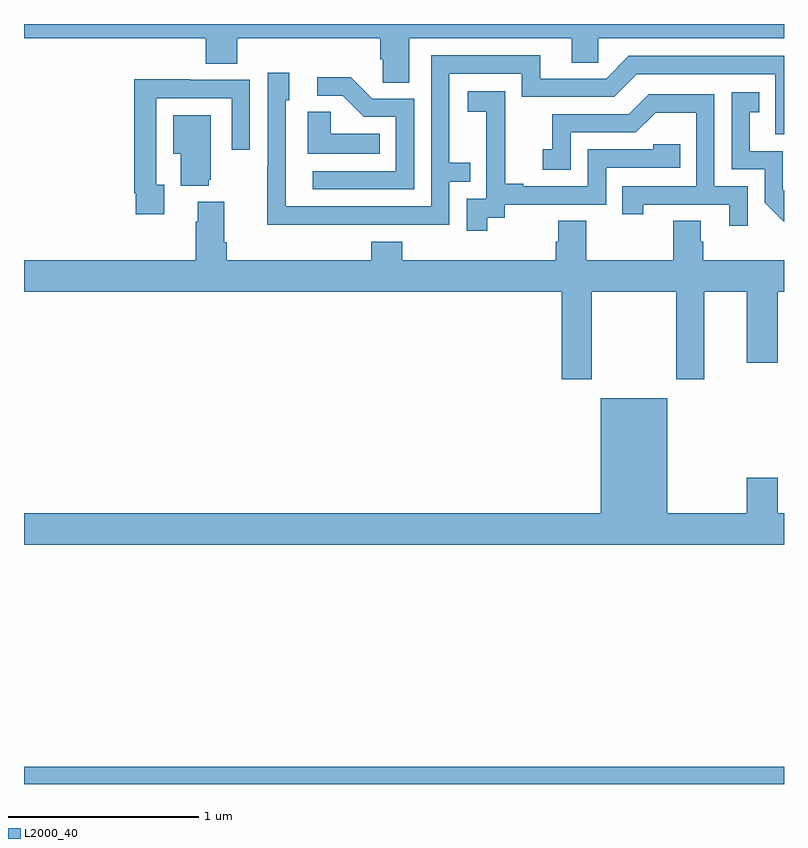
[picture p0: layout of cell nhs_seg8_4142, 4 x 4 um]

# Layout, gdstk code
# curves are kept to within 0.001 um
import gdstk
lib = gdstk.Library(unit=1e-6, precision=1e-09)
def R(c, l, rs):  # rectangles x0, y0, x1, y1
    for r in rs: c.add(gdstk.rectangle(r[:2], r[2:], *l))
def P(c, l, *ps):  # polygons
    for p in ps: c.add(gdstk.Polygon(p, *l))
L2000_40 = (2000, 40)

nhs_seg8_4142 = lib.new_cell('nhs_seg8_4142')
R(nhs_seg8_4142, L2000_40, [(365,1121.9,369,1121.992)])
P(nhs_seg8_4142, L2000_40, [(367.027,1125.824),(367.883,1125.824),(367.883,1125.697),(368.022,1125.697),(368.022,1125.824),(369,1125.824),(369,1125.9),(365,1125.9),(365,1125.824),(365.957,1125.824),(365.957,1125.691),(366.122,1125.691),(366.122,1125.824),(366.875,1125.824),(366.875,1125.715),(366.888,1125.715),(366.888,1125.592),(367.027,1125.592)],
  [(366.743,1124.844),(367.239,1124.844),(367.239,1125.069),(367.349,1125.069),(367.349,1125.17),(367.239,1125.17),(367.239,1125.639),(367.62,1125.639),(367.62,1125.516),(368.106,1125.516),(368.226,1125.636),(368.955,1125.636),(368.955,1125.321),(369,1125.321),(369,1125.732),(368.184,1125.732),(368.064,1125.612),(367.717,1125.612),(367.717,1125.735),(367.143,1125.735),(367.143,1124.94),(366.378,1124.94),(366.378,1125.498),(366.397,1125.498),(366.397,1125.643),(366.282,1125.643),(366.282,1125.149),(366.28,1125.149),(366.28,1124.843)],
  [(367.053,1125.507),(366.834,1125.507),(366.721,1125.62),(366.543,1125.62),(366.543,1125.522),(366.677,1125.522),(366.788,1125.411),(366.957,1125.411),(366.957,1125.126),(366.519,1125.126),(366.519,1125.03),(367.053,1125.03)],
  [(365.737,1125.054),(365.697,1125.054),(365.697,1125.51),(366.093,1125.51),(366.093,1125.237),(366.189,1125.237),(366.189,1125.606),(365.873,1125.606),(365.873,1125.608),(365.581,1125.608),(365.581,1125.01),(365.589,1125.01),(365.589,1124.898),(365.737,1124.898)],
  [(367.438,1124.881),(367.53,1124.881),(367.53,1124.949),(368.064,1124.949),(368.064,1125.144),(368.453,1125.144),(368.453,1125.267),(368.313,1125.267),(368.313,1125.24),(367.968,1125.24),(367.968,1125.045),(367.627,1125.045),(367.627,1125.058),(367.532,1125.058),(367.532,1125.341),(367.533,1125.341),(367.533,1125.547),(367.335,1125.547),(367.335,1125.437),(367.433,1125.437),(367.433,1125.209),(367.434,1125.209),(367.434,1124.979),(367.329,1124.979),(367.329,1124.811),(367.438,1124.811)],
  [(369,1125.024),(368.994,1125.03),(368.994,1125.231),(368.821,1125.231),(368.821,1125.435),(368.87,1125.435),(368.87,1125.541),(368.724,1125.541),(368.724,1125.135),(368.898,1125.135),(368.898,1124.958),(368.996,1124.861),(369,1124.861)],
  [(368.808,1125.045),(368.634,1125.045),(368.634,1125.531),(368.288,1125.531),(368.183,1125.426),(367.78,1125.426),(367.78,1125.241),(367.731,1125.241),(367.731,1125.132),(367.878,1125.132),(367.878,1125.33),(368.22,1125.33),(368.324,1125.434),(368.538,1125.434),(368.538,1125.045),(368.149,1125.045),(368.149,1124.898),(368.26,1124.898),(368.26,1124.949),(368.711,1124.949),(368.711,1124.838),(368.808,1124.838)],
  [(366.872,1125.322),(366.615,1125.322),(366.615,1125.437),(366.494,1125.437),(366.494,1125.218),(366.872,1125.218)],
  [(365.972,1125.081),(365.983,1125.081),(365.983,1125.421),(365.786,1125.421),(365.786,1125.218),(365.825,1125.218),(365.825,1125.05),(365.972,1125.05)],
  [(367.989,1124.492),(368.434,1124.492),(368.434,1124.031),(368.581,1124.031),(368.581,1124.492),(368.804,1124.492),(368.804,1124.118),(368.968,1124.118),(368.968,1124.492),(369,1124.492),(369,1124.656),(368.576,1124.656),(368.576,1124.754),(368.563,1124.754),(368.563,1124.864),(368.416,1124.864),(368.416,1124.656),(367.959,1124.656),(367.959,1124.864),(367.811,1124.864),(367.811,1124.754),(367.799,1124.754),(367.799,1124.656),(366.992,1124.656),(366.992,1124.755),(366.827,1124.755),(366.827,1124.656),(366.068,1124.656),(366.068,1124.752),(366.055,1124.752),(366.055,1124.965),(365.915,1124.965),(365.915,1124.858),(365.903,1124.858),(365.903,1124.656),(365,1124.656),(365,1124.492),(367.829,1124.492),(367.829,1124.031),(367.989,1124.031)],
  [(369,1123.324),(368.968,1123.324),(368.968,1123.513),(368.804,1123.513),(368.804,1123.324),(368.386,1123.324),(368.386,1123.93),(368.036,1123.93),(368.036,1123.324),(365,1123.324),(365,1123.16),(369,1123.16)])

lib.write_gds('nhs_seg8_4142.gds')
